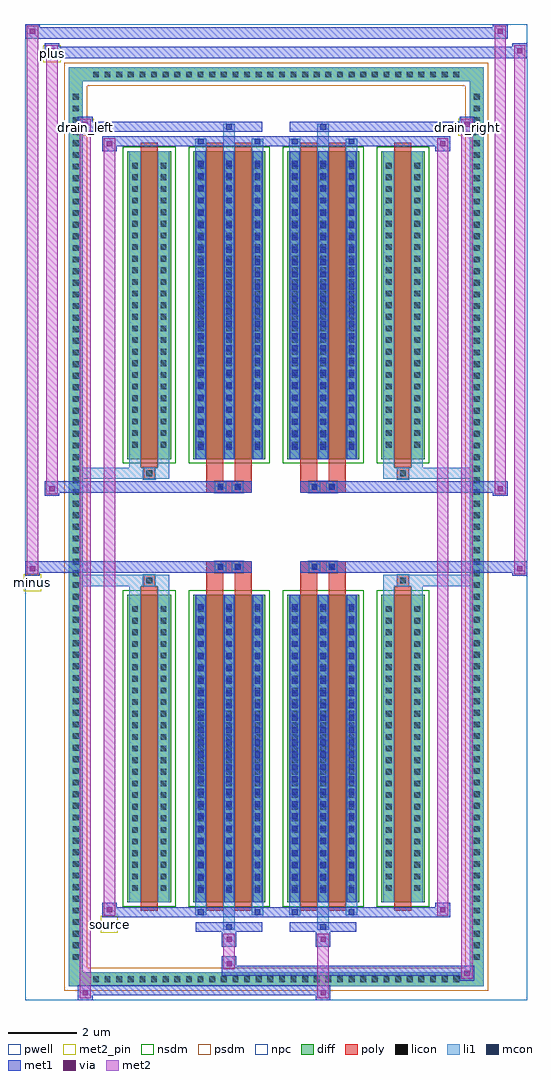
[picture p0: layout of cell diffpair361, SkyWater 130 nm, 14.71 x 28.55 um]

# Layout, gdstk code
import gdstk
lib = gdstk.Library(unit=1e-6, precision=5e-09)
def R(c, l, rs):  # rectangles x0, y0, x1, y1
    for r in rs: c.add(gdstk.rectangle(r[:2], r[2:], *l))
def A(c, l, x, y, w, h, nx, ny, dx, dy):  # array of equal rectangles
    R(c, l, [(x+i*dx, y+j*dy, x+i*dx+w, y+j*dy+h) for i in range(nx) for j in range(ny)])
def P(c, l, *ps):  # polygons
    for p in ps: c.add(gdstk.Polygon(p, *l))
pwell = (64, 44)
diff = (65, 20)
poly = (66, 20)
licon = (66, 44)
li1 = (67, 20)
mcon = (67, 44)
met1 = (68, 20)
via = (68, 44)
met2_pin = (69, 16)
met2 = (69, 20)
nsdm = (93, 44)
psdm = (94, 20)
npc = (95, 20)

diffpair361 = lib.new_cell('diffpair361')
R(diffpair361, pwell, [(-7.34,-13.84,7.34,14.71), (-4.66,-12.03,-0.01,-0.805), (0.01,-12.03,4.66,-0.805), (-4.66,0.805,-0.01,12.03), (0.01,0.805,4.66,12.03)])
A(diffpair361, diff, -5.475, -13.44, 0.41, 0.41, 32, 2, 0.34, 26.47)
A(diffpair361, diff, -6.07, -12.785, 0.41, 0.41, 1, 75, 0, 0.34)
A(diffpair361, diff, 5.66, -12.785, 0.41, 0.41, 1, 75, 0, 0.34)
R(diffpair361, diff, [(-5.475,-13.44,5.475,-13.03), (-6.07,-12.785,-5.66,12.785), (5.66,-12.785,6.07,12.785), (-4.35,-10.985,-3.07,-1.985), (-2.43,-10.985,-0.32,-1.985), (0.32,-10.985,2.43,-1.985), (3.07,-10.985,4.35,-1.985), (-4.35,1.985,-3.07,10.985), (-2.43,1.985,-0.32,10.985), (0.32,1.985,2.43,10.985), (3.07,1.985,4.35,10.985), (-5.475,13.03,5.475,13.44)])
P(diffpair361, diff, [(6.07,13.44),(-6.07,13.44),(-6.07,-13.03),(-5.66,-13.03),(-5.66,13.03),(5.66,13.03),(5.66,-13.03),(-5.66,-13.03),(-6.07,-13.03),(-6.07,-13.44),(6.07,-13.44)])
R(diffpair361, poly, [(-3.96,-11.235,-3.46,-1.735), (-2.04,-11.235,-1.54,-1.735), (-1.21,-11.235,-0.71,-1.735), (0.71,-11.235,1.21,-1.735), (1.54,-11.235,2.04,-1.735), (3.46,-11.235,3.96,-1.735), (-3.875,-1.735,-3.545,-1.405), (-3.875,-1.735,-3.545,-1.405), (-2.04,-1.735,-1.54,-1.335), (-1.21,-1.735,-0.71,-1.335), (0.71,-1.735,1.21,-1.335), (1.54,-1.735,2.04,-1.335), (3.545,-1.735,3.875,-1.405), (3.545,-1.735,3.875,-1.405), (-2.04,-1.335,-0.71,-1.005), (-1.79,-1.335,-1.46,-1.005), (-1.29,-1.335,-0.96,-1.005), (0.71,-1.335,2.04,-1.005), (0.96,-1.335,1.29,-1.005), (1.46,-1.335,1.79,-1.005), (-2.04,1.005,-0.71,1.335), (-1.79,1.005,-1.46,1.335), (-1.29,1.005,-0.96,1.335), (0.71,1.005,2.04,1.335), (0.96,1.005,1.29,1.335), (1.46,1.005,1.79,1.335), (-2.04,1.335,-1.54,1.735), (-1.21,1.335,-0.71,1.735), (0.71,1.335,1.21,1.735), (1.54,1.335,2.04,1.735), (-3.875,1.405,-3.545,1.735), (-3.875,1.405,-3.545,1.735), (3.545,1.405,3.875,1.735), (3.545,1.405,3.875,1.735), (-3.96,1.735,-3.46,11.235), (-2.04,1.735,-1.54,11.235), (-1.21,1.735,-0.71,11.235), (0.71,1.735,1.21,11.235), (1.54,1.735,2.04,11.235), (3.46,1.735,3.96,11.235)])
A(diffpair361, licon, -5.355, -13.32, 0.17, 0.17, 32, 2, 0.34, 26.47)
A(diffpair361, licon, -5.95, -12.665, 0.17, 0.17, 1, 75, 0, 0.34)
A(diffpair361, licon, 5.78, -12.665, 0.17, 0.17, 1, 75, 0, 0.34)
A(diffpair361, licon, -4.21, -10.65, 0.17, 0.17, 1, 25, 0, 0.34)
A(diffpair361, licon, -3.38, -10.65, 0.17, 0.17, 1, 25, 0, 0.34)
A(diffpair361, licon, -2.29, -10.65, 0.17, 0.17, 3, 25, 0.83, 0.34)
A(diffpair361, licon, 0.46, -10.65, 0.17, 0.17, 3, 25, 0.83, 0.34)
A(diffpair361, licon, 3.21, -10.65, 0.17, 0.17, 1, 25, 0, 0.34)
A(diffpair361, licon, 4.04, -10.65, 0.17, 0.17, 1, 25, 0, 0.34)
A(diffpair361, licon, -4.21, 2.32, 0.17, 0.17, 1, 25, 0, 0.34)
A(diffpair361, licon, -3.38, 2.32, 0.17, 0.17, 1, 25, 0, 0.34)
A(diffpair361, licon, -2.29, 2.32, 0.17, 0.17, 3, 25, 0.83, 0.34)
A(diffpair361, licon, 0.46, 2.32, 0.17, 0.17, 3, 25, 0.83, 0.34)
A(diffpair361, licon, 3.21, 2.32, 0.17, 0.17, 1, 25, 0, 0.34)
A(diffpair361, licon, 4.04, 2.32, 0.17, 0.17, 1, 25, 0, 0.34)
R(diffpair361, licon, [(-3.795,-1.655,-3.625,-1.485), (3.625,-1.655,3.795,-1.485), (-1.71,-1.255,-1.54,-1.085), (-1.21,-1.255,-1.04,-1.085), (1.04,-1.255,1.21,-1.085), (1.54,-1.255,1.71,-1.085), (-1.71,1.085,-1.54,1.255), (-1.21,1.085,-1.04,1.255), (1.04,1.085,1.21,1.255), (1.54,1.085,1.71,1.255), (-3.795,1.485,-3.625,1.655), (3.625,1.485,3.795,1.655)])
A(diffpair361, li1, -5.435, -13.4, 0.33, 0.33, 32, 2, 0.34, 26.47)
A(diffpair361, li1, -6.03, -12.745, 0.33, 0.33, 1, 75, 0, 0.34)
A(diffpair361, li1, 5.7, -12.745, 0.33, 0.33, 1, 75, 0, 0.34)
A(diffpair361, li1, -2.37, -10.985, 0.33, 9, 3, 2, 0.83, 12.97)
A(diffpair361, li1, 0.38, -10.985, 0.33, 9, 3, 2, 0.83, 12.97)
A(diffpair361, li1, -4.29, -10.73, 0.33, 0.33, 1, 25, 0, 0.34)
A(diffpair361, li1, -3.46, -10.73, 0.33, 0.33, 1, 25, 0, 0.34)
A(diffpair361, li1, -2.37, -10.73, 0.33, 0.33, 3, 25, 0.83, 0.34)
A(diffpair361, li1, 0.38, -10.73, 0.33, 0.33, 3, 25, 0.83, 0.34)
A(diffpair361, li1, 3.13, -10.73, 0.33, 0.33, 1, 25, 0, 0.34)
A(diffpair361, li1, 3.96, -10.73, 0.33, 0.33, 1, 25, 0, 0.34)
A(diffpair361, li1, -2.29, -10.71, 0.17, 0.17, 3, 24, 0.83, 0.36)
A(diffpair361, li1, -2.29, -10.71, 0.17, 8.45, 3, 2, 0.83, 12.97)
A(diffpair361, li1, 0.46, -10.71, 0.17, 0.17, 3, 24, 0.83, 0.36)
A(diffpair361, li1, 0.46, -10.71, 0.17, 8.45, 3, 2, 0.83, 12.97)
A(diffpair361, li1, -4.29, 2.24, 0.33, 0.33, 1, 25, 0, 0.34)
A(diffpair361, li1, -3.46, 2.24, 0.33, 0.33, 1, 25, 0, 0.34)
A(diffpair361, li1, -2.37, 2.24, 0.33, 0.33, 3, 25, 0.83, 0.34)
A(diffpair361, li1, 0.38, 2.24, 0.33, 0.33, 3, 25, 0.83, 0.34)
A(diffpair361, li1, 3.13, 2.24, 0.33, 0.33, 1, 25, 0, 0.34)
A(diffpair361, li1, 3.96, 2.24, 0.33, 0.33, 1, 25, 0, 0.34)
A(diffpair361, li1, -2.29, 2.26, 0.17, 0.17, 3, 24, 0.83, 0.36)
A(diffpair361, li1, 0.46, 2.26, 0.17, 0.17, 3, 24, 0.83, 0.36)
R(diffpair361, li1, [(-6.07,-13.44,-5.66,-13.03), (-6.07,-13.44,-5.66,-13.03), (-5.66,-13.44,5.66,-13.03), (5.66,-13.44,6.07,-13.03), (5.66,-13.44,6.07,-13.03), (-6.07,-13.03,-5.66,13.03), (5.66,-13.03,6.07,13.03), (-1.54,-11.79,-1.21,-10.985), (-1.46,-11.79,-1.29,-11.62), (1.21,-11.79,1.54,-10.985), (1.29,-11.79,1.46,-11.62), (-2.37,-11.36,-2.04,-10.985), (-2.29,-11.36,-2.12,-11.19), (-0.71,-11.36,-0.38,-10.985), (-0.63,-11.36,-0.46,-11.19), (0.38,-11.36,0.71,-10.985), (0.46,-11.36,0.63,-11.19), (2.04,-11.36,2.37,-10.985), (2.12,-11.36,2.29,-11.19), (-4.29,-10.985,-3.96,-1.985), (-3.46,-10.985,-3.13,-1.985), (3.13,-10.985,3.46,-1.985), (3.96,-10.985,4.29,-1.985), (-4.29,-1.985,-3.96,-1.405), (-3.46,-1.985,-3.13,-1.405), (3.13,-1.985,3.46,-1.405), (3.96,-1.985,4.29,-1.405), (-6.07,-1.735,-3.875,-1.405), (-4.29,-1.735,-3.875,-1.405), (-3.875,-1.735,-3.545,-1.405), (-3.545,-1.735,-3.13,-1.405), (3.13,-1.735,3.545,-1.405), (3.545,-1.735,3.875,-1.405), (3.545,-1.735,6.07,-1.405), (3.875,-1.735,4.29,-1.405), (-1.79,-1.335,-1.46,-1.005), (-1.29,-1.335,-0.96,-1.005), (0.96,-1.335,1.29,-1.005), (1.46,-1.335,1.79,-1.005), (-1.79,1.005,-1.46,1.335), (-1.29,1.005,-0.96,1.335), (0.96,1.005,1.29,1.335), (1.46,1.005,1.79,1.335), (-6.07,1.405,-3.875,1.735), (-4.29,1.405,-3.875,1.735), (-4.29,1.405,-3.96,1.985), (-3.875,1.405,-3.545,1.735), (-3.545,1.405,-3.13,1.735), (-3.46,1.405,-3.13,1.985), (3.13,1.405,3.545,1.735), (3.13,1.405,3.46,1.985), (3.545,1.405,3.875,1.735), (3.545,1.405,6.07,1.735), (3.875,1.405,4.29,1.735), (3.96,1.405,4.29,1.985), (-4.29,1.985,-3.96,10.985), (-3.46,1.985,-3.13,10.985), (3.13,1.985,3.46,10.985), (3.96,1.985,4.29,10.985), (-2.37,10.985,-2.04,11.36), (-1.54,10.985,-1.21,11.79), (-0.71,10.985,-0.38,11.36), (0.38,10.985,0.71,11.36), (1.21,10.985,1.54,11.79), (2.04,10.985,2.37,11.36), (-2.29,11.19,-2.12,11.36), (-0.63,11.19,-0.46,11.36), (0.46,11.19,0.63,11.36), (2.12,11.19,2.29,11.36), (-1.46,11.62,-1.29,11.79), (1.29,11.62,1.46,11.79), (-6.07,13.03,-5.66,13.44), (-6.07,13.03,-5.66,13.44), (-5.66,13.03,5.66,13.44), (5.66,13.03,6.07,13.44), (5.66,13.03,6.07,13.44)])
A(diffpair361, mcon, -2.29, -10.71, 0.17, 0.17, 3, 24, 0.83, 0.36)
A(diffpair361, mcon, 0.46, -10.71, 0.17, 0.17, 3, 24, 0.83, 0.36)
A(diffpair361, mcon, -2.29, 2.26, 0.17, 0.17, 3, 24, 0.83, 0.36)
A(diffpair361, mcon, 0.46, 2.26, 0.17, 0.17, 3, 24, 0.83, 0.36)
R(diffpair361, mcon, [(-1.46,-11.79,-1.29,-11.62), (1.29,-11.79,1.46,-11.62), (-2.29,-11.36,-2.12,-11.19), (-0.63,-11.36,-0.46,-11.19), (0.46,-11.36,0.63,-11.19), (2.12,-11.36,2.29,-11.19), (-1.71,-1.255,-1.54,-1.085), (-1.21,-1.255,-1.04,-1.085), (1.04,-1.255,1.21,-1.085), (1.54,-1.255,1.71,-1.085), (-1.71,1.085,-1.54,1.255), (-1.21,1.085,-1.04,1.255), (1.04,1.085,1.21,1.255), (1.54,1.085,1.71,1.255), (-2.29,11.19,-2.12,11.36), (-0.63,11.19,-0.46,11.36), (0.46,11.19,0.63,11.36), (2.12,11.19,2.29,11.36), (-1.46,11.62,-1.29,11.79), (1.29,11.62,1.46,11.79)])
A(diffpair361, met1, -2.35, -10.985, 0.29, 9, 3, 2, 0.83, 12.97)
A(diffpair361, met1, 0.4, -10.985, 0.29, 9, 3, 2, 0.83, 12.97)
A(diffpair361, met1, -2.35, -10.77, 0.29, 0.29, 3, 24, 0.83, 0.36)
A(diffpair361, met1, 0.4, -10.77, 0.29, 0.29, 3, 24, 0.83, 0.36)
A(diffpair361, met1, -2.35, 2.2, 0.29, 0.29, 3, 24, 0.83, 0.36)
A(diffpair361, met1, 0.4, 2.2, 0.29, 0.29, 3, 24, 0.83, 0.36)
R(diffpair361, met1, [(-5.8,-13.84,-5.37,-13.41), (1.16,-13.84,1.59,-13.41), (-5.8,-13.7,1.59,-13.41), (5.37,-13.27,5.8,-12.84), (-1.59,-13.13,5.8,-12.84), (-1.59,-12.99,-1.16,-12.56), (-1.59,-12.28,-1.16,-11.85), (1.16,-12.28,1.59,-11.85), (-2.35,-11.85,-0.4,-11.56), (-1.52,-11.85,-1.23,-11.56), (0.4,-11.85,2.35,-11.56), (1.23,-11.85,1.52,-11.56), (-5.09,-11.42,-4.66,-10.99), (-5.09,-11.42,-2.35,-11.13), (-2.35,-11.42,-2.06,-11.13), (-2.35,-11.42,-0.4,-11.13), (-0.69,-11.42,-0.4,-11.13), (-0.4,-11.42,0.4,-11.13), (0.4,-11.42,0.69,-11.13), (0.4,-11.42,2.35,-11.13), (2.06,-11.42,2.35,-11.13), (2.35,-11.42,5.09,-11.13), (4.66,-11.42,5.09,-10.99), (-7.34,-1.435,-6.91,-1.005), (6.91,-1.435,7.34,-1.005), (-7.34,-1.335,-0.71,-1.005), (-2.04,-1.335,-0.71,-1.005), (0.71,-1.335,2.04,-1.005), (0.71,-1.335,7.34,-1.005), (-1.77,-1.315,-1.48,-1.025), (-1.27,-1.315,-0.98,-1.025), (0.98,-1.315,1.27,-1.025), (1.48,-1.315,1.77,-1.025), (-6.77,0.905,-6.34,1.335), (6.34,0.905,6.77,1.335), (-6.77,1.005,-2.04,1.335), (-2.04,1.005,-0.71,1.335), (0.71,1.005,2.04,1.335), (2.04,1.005,6.77,1.335), (-1.77,1.025,-1.48,1.315), (-1.27,1.025,-0.98,1.315), (0.98,1.025,1.27,1.315), (1.48,1.025,1.77,1.315), (-5.09,10.99,-4.66,11.42), (4.66,10.99,5.09,11.42), (-5.09,11.13,-2.35,11.42), (-2.35,11.13,-2.06,11.42), (-2.35,11.13,-0.4,11.42), (-0.69,11.13,-0.4,11.42), (-0.4,11.13,0.4,11.42), (0.4,11.13,0.69,11.42), (0.4,11.13,2.35,11.42), (2.06,11.13,2.35,11.42), (2.35,11.13,5.09,11.42), (-5.8,11.56,-5.37,11.99), (-5.8,11.56,-2.35,11.85), (-2.35,11.56,-0.4,11.85), (-1.52,11.56,-1.23,11.85), (0.4,11.56,2.35,11.85), (1.23,11.56,1.52,11.85), (2.35,11.56,5.8,11.85), (5.37,11.56,5.8,11.99), (-6.77,13.71,-6.34,14.14), (-6.77,13.71,-4.66,14.04), (-4.66,13.71,4.66,14.04), (4.66,13.71,7.34,14.04), (6.91,13.71,7.34,14.14), (-7.34,14.28,-6.91,14.71), (-7.34,14.28,-4.66,14.61), (-4.66,14.28,4.66,14.61), (4.66,14.28,6.77,14.61), (6.34,14.28,6.77,14.71)])
R(diffpair361, via, [(-5.66,-13.7,-5.51,-13.55), (1.3,-13.7,1.45,-13.55), (5.51,-13.13,5.66,-12.98), (-1.45,-12.85,-1.3,-12.7), (-1.45,-12.14,-1.3,-11.99), (1.3,-12.14,1.45,-11.99), (-4.95,-11.28,-4.8,-11.13), (4.8,-11.28,4.95,-11.13), (-7.2,-1.295,-7.05,-1.145), (7.05,-1.295,7.2,-1.145), (-6.63,1.045,-6.48,1.195), (6.48,1.045,6.63,1.195), (-4.95,11.13,-4.8,11.28), (4.8,11.13,4.95,11.28), (-5.66,11.7,-5.51,11.85), (5.51,11.7,5.66,11.85), (-6.63,13.85,-6.48,14), (7.05,13.85,7.2,14), (-7.2,14.42,-7.05,14.57), (6.48,14.42,6.63,14.57)])
R(diffpair361, met2_pin, [(-5.125,-11.87,-4.625,-11.37), (-7.375,-1.885,-6.875,-1.385), (-5.835,11.44,-5.335,11.94), (5.335,11.44,5.835,11.94), (-6.805,13.59,-6.305,14.09)])
R(diffpair361, met2, [(-5.75,-13.79,-5.42,-13.46), (-5.75,-13.79,-5.42,11.94), (1.21,-13.79,1.54,-13.46), (1.21,-13.46,1.54,-12.23), (5.42,-13.22,5.75,-12.89), (5.42,-13.22,5.75,11.94), (-1.54,-12.94,-1.21,-12.61), (-1.54,-12.61,-1.21,-12.23), (-1.54,-12.23,-1.21,-11.9), (1.21,-12.23,1.54,-11.9), (-5.04,-11.37,-4.71,-11.04), (-5.04,-11.37,-4.71,11.37), (4.71,-11.37,5.04,-11.04), (4.71,-11.37,5.04,11.37), (-7.29,-1.385,-6.96,-1.055), (-7.29,-1.385,-6.96,14.66), (6.96,-1.385,7.29,-1.055), (6.96,-1.385,7.29,14.09), (-6.72,0.955,-6.39,1.285), (-6.72,0.955,-6.39,14.09), (6.39,0.955,6.72,1.285), (6.39,0.955,6.72,14.66), (-5.04,11.04,-4.71,11.37), (4.71,11.04,5.04,11.37), (-5.75,11.61,-5.42,11.94), (5.42,11.61,5.75,11.94), (-6.72,13.76,-6.39,14.09), (6.96,13.76,7.29,14.09), (-7.29,14.33,-6.96,14.66), (6.39,14.33,6.72,14.66)])
P(diffpair361, met2, [(7.29,-1.385),(7.29,-1.385),(7.29,-1.055),(7.29,-1.055)],
  [(7.29,13.76),(7.29,13.76),(7.29,14.09),(7.29,14.09)],
  [(-6.96,-1.385),(-6.96,-1.385),(-6.96,-1.055),(-6.96,-1.055)],
  [(-6.96,14.33),(-6.96,14.33),(-6.96,14.66),(-6.96,14.66)],
  [(6.72,0.955),(6.72,0.955),(6.72,1.285),(6.72,1.285)],
  [(6.72,14.33),(6.72,14.33),(6.72,14.66),(6.72,14.66)],
  [(-6.39,0.955),(-6.39,0.955),(-6.39,1.285),(-6.39,1.285)],
  [(-6.39,13.76),(-6.39,13.76),(-6.39,14.09),(-6.39,14.09)],
  [(-5.42,-13.79),(-5.42,-13.79),(-5.42,-13.46),(-5.42,-13.46)],
  [(-5.42,11.61),(-5.42,11.61),(-5.42,11.94),(-5.42,11.94)],
  [(5.75,-13.22),(5.75,-13.22),(5.75,-12.89),(5.75,-12.89)],
  [(5.75,11.61),(5.75,11.61),(5.75,11.94),(5.75,11.94)],
  [(-4.71,-11.37),(-4.71,-11.37),(-4.71,-11.04),(-4.71,-11.04)],
  [(-4.71,11.04),(-4.71,11.04),(-4.71,11.37),(-4.71,11.37)],
  [(5.04,-11.37),(5.04,-11.37),(5.04,-11.04),(5.04,-11.04)],
  [(5.04,11.04),(5.04,11.04),(5.04,11.37),(5.04,11.37)])
R(diffpair361, nsdm, [(-4.48,-11.115,-2.94,-1.855), (-2.56,-11.115,-0.19,-1.855), (0.19,-11.115,2.56,-1.855), (2.94,-11.115,4.48,-1.855), (-4.48,1.855,-2.94,11.115), (-2.56,1.855,-0.19,11.115), (0.19,1.855,2.56,11.115), (2.94,1.855,4.48,11.115)])
P(diffpair361, psdm, [(6.2,13.57),(-6.2,13.57),(-6.2,-12.9),(-5.53,-12.9),(-5.53,12.9),(5.53,12.9),(5.53,-12.9),(-5.53,-12.9),(-6.2,-12.9),(-6.2,-13.57),(6.2,-13.57)])
R(diffpair361, npc, [(-3.895,-1.755,-3.525,-1.385), (3.525,-1.755,3.895,-1.385), (-1.81,-1.355,-1.44,-0.985), (-1.81,-1.355,-0.94,-0.985), (-1.81,-1.355,-0.94,-0.985), (-1.31,-1.355,-0.94,-0.985), (0.94,-1.355,1.31,-0.985), (0.94,-1.355,1.81,-0.985), (0.94,-1.355,1.81,-0.985), (1.44,-1.355,1.81,-0.985), (-1.81,0.985,-1.44,1.355), (-1.81,0.985,-0.94,1.355), (-1.81,0.985,-0.94,1.355), (-1.31,0.985,-0.94,1.355), (0.94,0.985,1.31,1.355), (0.94,0.985,1.81,1.355), (0.94,0.985,1.81,1.355), (1.44,0.985,1.81,1.355), (-3.895,1.385,-3.525,1.755), (3.525,1.385,3.895,1.755)])
diffpair361.add(gdstk.Label('minus', (-7.125,-1.635), layer=69, texttype=5))
diffpair361.add(gdstk.Label('drain_right', (5.585,11.69), layer=69, texttype=5))
diffpair361.add(gdstk.Label('drain_left', (-5.585,11.69), layer=69, texttype=5))
diffpair361.add(gdstk.Label('source', (-4.875,-11.62), layer=69, texttype=5))
diffpair361.add(gdstk.Label('plus', (-6.555,13.84), layer=69, texttype=5))

lib.write_gds('diffpair361.gds')
